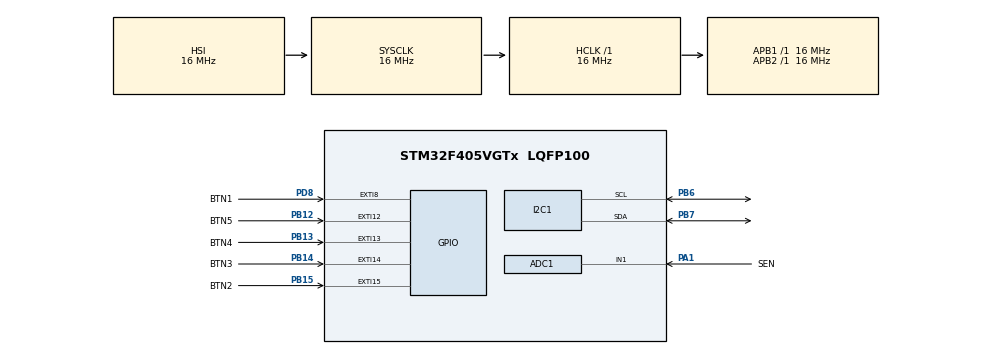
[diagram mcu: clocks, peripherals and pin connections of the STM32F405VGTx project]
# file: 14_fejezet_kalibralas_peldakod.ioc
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ADC1.Channel-2\#ChannelRegularConversion=ADC_CHANNEL_1
ADC1.NbrOfConversionFlag=1
ADC1.Rank-2\#ChannelRegularConversion=1
ADC1.SamplingTime-2\#ChannelRegularConversion=ADC_SAMPLETIME_3CYCLES
ADC1.master=1
Mcu.Family=STM32F4
Mcu.Name=STM32F405VGTx
Mcu.Package=LQFP100
NVIC.EXTI15_10_IRQn=true\:0\:0\:false\:false\:true\:true\:true
NVIC.EXTI9_5_IRQn=true\:0\:0\:false\:false\:true\:true\:true
NVIC.PriorityGroup=NVIC_PRIORITYGROUP_4
NVIC.TIM1_BRK_TIM9_IRQn=true\:0\:0\:false\:false\:true\:true\:true
NVIC.TIM1_CC_IRQn=true\:0\:0\:false\:false\:true\:true\:true
NVIC.TIM1_TRG_COM_TIM11_IRQn=true\:0\:0\:false\:false\:true\:true\:true
NVIC.TIM1_UP_TIM10_IRQn=true\:0\:0\:false\:false\:true\:true\:true
PA1.GPIO_Label=SEN
PA1.Signal=ADCx_IN1
PB12.GPIO_Label=BTN5
PB12.Signal=GPXTI12
PB13.GPIO_Label=BTN4
PB13.Signal=GPXTI13
PB14.GPIO_Label=BTN3
PB14.Signal=GPXTI14
PB15.GPIO_Label=BTN2
PB15.Signal=GPXTI15
PB6.Mode=I2C
PB6.Signal=I2C1_SCL
PB7.Mode=I2C
PB7.Signal=I2C1_SDA
PD8.GPIO_Label=BTN1
PD8.Signal=GPXTI8
ProjectManager.HeapSize=0x200
ProjectManager.StackSize=0x400
ProjectManager.TargetToolchain=STM32CubeIDE
RCC.AHBFreq_Value=16000000
RCC.APB1Freq_Value=16000000
RCC.APB2Freq_Value=16000000
RCC.CortexFreq_Value=16000000
RCC.HSE_VALUE=25000000
RCC.HSI_VALUE=16000000
RCC.LSE_VALUE=32768
RCC.SYSCLKFreq_VALUE=16000000
RCC.VCOOutputFreq_Value=192000000
SH.ADCx_IN1.0=ADC1_IN1,IN1
TIM1.Period=50
TIM1.Prescaler=16000
VP_TIM1_VS_ClockSourceINT.Mode=Internal
board=custom

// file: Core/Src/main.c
/* USER CODE BEGIN Header */
/**
  ******************************************************************************
  * @file           : main.c
  * @brief          : Main program body
  ******************************************************************************
  * @attention
  *
  * <h2><center>&copy; Copyright (c) 2020 STMicroelectronics.
  * All rights reserved.</center></h2>
  *
  * This software component is licensed by ST under BSD 3-Clause license,
  * the "License"; You may not use this file except in compliance with the
  * License. You may obtain a copy of the License at:
  *                        opensource.org/licenses/BSD-3-Clause
  *
  ******************************************************************************
  */
/* USER CODE END Header */
#include "main.h"

/* USER CODE BEGIN Includes */
#include "stdbool.h"
#include "OLED.h"
#include "thermistor_misc.h"
/* USER CODE END Includes */

ADC_HandleTypeDef hadc1;

I2C_HandleTypeDef hi2c1;

TIM_HandleTypeDef htim1;

/* USER CODE BEGIN PV */

// lehetséges képernyő üzemmódok
enum Screen
{
	SCRN_Start = 0,
	SCRN_ADC = 1,
};

//a SCRN_ADC képernyő megjelenítési módjai
enum ADC_DisplayMode
{
	DM_Temp = 0,
	DM_Diff = 1,
	DM_ConvRes = 2
};

// üzemmódok és kijelzési módok mennyiségének definiálása
const unsigned int NUMBER_OF_WORKING_MODES = 2;
const unsigned int NUMBER_OF_DISPLAY_MODES = 3;

// alapértelmezett üzemmód és kijelzési mód definiálása
unsigned short current_screen = SCRN_Start;
unsigned short display_mode = DM_Temp;

//végleges adc eredményt tároló változó
uint32_t adc_result = 0;

//kiszámított hőmérsékletet és a kalibrációból adódó korrekció értékét tároló változó
float temperature_calculated = 0.0;
float temperature_correction = 0.0;

// gombok állapotának tárolása
bool button_state = true;

/* USER CODE END PV */

void SystemClock_Config(void);
static void MX_GPIO_Init(void);
static void MX_TIM1_Init(void);
static void MX_ADC1_Init(void);
static void MX_I2C1_Init(void);

/* USER CODE BEGIN 0 */

// az A-D átalakítás elvégzése és az aktuális képernyő megjelenítése
void ConvertAndDisplay()
{
	// változó a mért adc értékek összegzésére
	float cumulated_result = 0.0;

	// az átlagoláshoz használt átalakítások száma
	const unsigned int SAMPLE_NUMBER = 16;
	// kommunikáció ellenőrzésére változó létrehozása
	HAL_StatusTypeDef error_code = HAL_OK;
	for (unsigned int i = 0;i < SAMPLE_NUMBER;++i)
	{
		// analóg-digitális átalakítás indítása
		HAL_ADC_Start(&hadc1);
		error_code = HAL_ADC_PollForConversion(&hadc1, 100);
		if (error_code != HAL_OK)
		{
			DisplayTextAndInteger("Error:", error_code, NoUnit);
			HAL_Delay(1000);
			break;
		}
		cumulated_result += HAL_ADC_GetValue(&hadc1);
	}
	// kommunikáció sikerességének ellenőrzése
	if (error_code != HAL_OK)
	{
		return;
	}
	// átlagolt eredmény kiszámítása
	adc_result = cumulated_result/SAMPLE_NUMBER;
	// hőmérséklet kiszámítása a kapott adc értékből
	temperature_calculated = CalculateTemperature(adc_result);
	// kalibrálási korrekció figyelembevétele
	float temperature = temperature_calculated + temperature_correction;

	// az eredmény megjelenítése a kijelző módjától függően
	if (display_mode == DM_Temp)
	{
		DisplayTextAndFloat("Temp:", temperature, Celsius);
	}
	else if (display_mode == DM_Diff)
	{
		DisplayTextAndFloat("Diff:", temperature_correction, Celsius);
	}
	else if (display_mode == DM_ConvRes)
	{
		DisplayTextAndInteger("ADC:",  adc_result, NoUnit);
	}
}

/* USER CODE END 0 */

int main(void)
{

  /* MCU Configuration--------------------------------------------------------*/

  /* Reset of all peripherals, Initializes the Flash interface and the Systick. */
  HAL_Init();

  /* Configure the system clock */
  SystemClock_Config();

  /* Initialize all configured peripherals */
  MX_GPIO_Init();
  MX_TIM1_Init();
  MX_ADC1_Init();
  MX_I2C1_Init();
  /* USER CODE BEGIN 2 */

  OLED_SelectDisplay(Display_1);
  OLED_Init();

  /* USER CODE END 2 */

  /* Infinite loop */
  /* USER CODE BEGIN WHILE */
  while (1)
  {
	  // Állapotgép
	  switch (current_screen)
	  {
	  case SCRN_Start:
		  DisplayText("Start", "screen", NoUnit);
		  HAL_Delay(500);
		  break;
	  case SCRN_ADC:
		  ConvertAndDisplay();
		  HAL_Delay(500);
		  break;
	  default:
		  DisplayText("Unknown", "screen", NoUnit);
		  HAL_Delay(500);
		  break;
	  }
    /* USER CODE END WHILE */

  }
}

void SystemClock_Config(void)
{
  RCC_OscInitTypeDef RCC_OscInitStruct = {0};
  RCC_ClkInitTypeDef RCC_ClkInitStruct = {0};

  /** Configure the main internal regulator output voltage
  */
  __HAL_RCC_PWR_CLK_ENABLE();
  __HAL_PWR_VOLTAGESCALING_CONFIG(PWR_REGULATOR_VOLTAGE_SCALE1);
  /** Initializes the RCC Oscillators according to the specified parameters
  * in the RCC_OscInitTypeDef structure.
  */
  RCC_OscInitStruct.OscillatorType = RCC_OSCILLATORTYPE_HSI;
  RCC_OscInitStruct.HSIState = RCC_HSI_ON;
  RCC_OscInitStruct.HSICalibrationValue = RCC_HSICALIBRATION_DEFAULT;
  RCC_OscInitStruct.PLL.PLLState = RCC_PLL_NONE;
  if (HAL_RCC_OscConfig(&RCC_OscInitStruct) != HAL_OK)
  {
    Error_Handler();
  }
  /** Initializes the CPU, AHB and APB buses clocks
  */
  RCC_ClkInitStruct.ClockType = RCC_CLOCKTYPE_HCLK|RCC_CLOCKTYPE_SYSCLK
                              |RCC_CLOCKTYPE_PCLK1|RCC_CLOCKTYPE_PCLK2;
  RCC_ClkInitStruct.SYSCLKSource = RCC_SYSCLKSOURCE_HSI;
  RCC_ClkInitStruct.AHBCLKDivider = RCC_SYSCLK_DIV1;
  RCC_ClkInitStruct.APB1CLKDivider = RCC_HCLK_DIV1;
  RCC_ClkInitStruct.APB2CLKDivider = RCC_HCLK_DIV1;

  if (HAL_RCC_ClockConfig(&RCC_ClkInitStruct, FLASH_LATENCY_0) != HAL_OK)
  {
    Error_Handler();
  }
}

static void MX_ADC1_Init(void)
{

  ADC_ChannelConfTypeDef sConfig = {0};

  /** Configure the global features of the ADC (Clock, Resolution, Data Alignment and number of conversion)
  */
  hadc1.Instance = ADC1;
  hadc1.Init.ClockPrescaler = ADC_CLOCK_SYNC_PCLK_DIV2;
  hadc1.Init.Resolution = ADC_RESOLUTION_12B;
  hadc1.Init.ScanConvMode = DISABLE;
  hadc1.Init.ContinuousConvMode = DISABLE;
  hadc1.Init.DiscontinuousConvMode = DISABLE;
  hadc1.Init.ExternalTrigConvEdge = ADC_EXTERNALTRIGCONVEDGE_NONE;
  hadc1.Init.ExternalTrigConv = ADC_SOFTWARE_START;
  hadc1.Init.DataAlign = ADC_DATAALIGN_RIGHT;
  hadc1.Init.NbrOfConversion = 1;
  hadc1.Init.DMAContinuousRequests = DISABLE;
  hadc1.Init.EOCSelection = ADC_EOC_SINGLE_CONV;
  if (HAL_ADC_Init(&hadc1) != HAL_OK)
  {
    Error_Handler();
  }
  /** Configure for the selected ADC regular channel its corresponding rank in the sequencer and its sample time.
  */
  sConfig.Channel = ADC_CHANNEL_1;
  sConfig.Rank = 1;
  sConfig.SamplingTime = ADC_SAMPLETIME_3CYCLES;
  if (HAL_ADC_ConfigChannel(&hadc1, &sConfig) != HAL_OK)
  {
    Error_Handler();
  }

}

static void MX_I2C1_Init(void)
{

  hi2c1.Instance = I2C1;
  hi2c1.Init.ClockSpeed = 100000;
  hi2c1.Init.DutyCycle = I2C_DUTYCYCLE_2;
  hi2c1.Init.OwnAddress1 = 0;
  hi2c1.Init.AddressingMode = I2C_ADDRESSINGMODE_7BIT;
  hi2c1.Init.DualAddressMode = I2C_DUALADDRESS_DISABLE;
  hi2c1.Init.OwnAddress2 = 0;
  hi2c1.Init.GeneralCallMode = I2C_GENERALCALL_DISABLE;
  hi2c1.Init.NoStretchMode = I2C_NOSTRETCH_DISABLE;
  if (HAL_I2C_Init(&hi2c1) != HAL_OK)
  {
    Error_Handler();
  }

}

static void MX_TIM1_Init(void)
{

  TIM_ClockConfigTypeDef sClockSourceConfig = {0};
  TIM_MasterConfigTypeDef sMasterConfig = {0};

  htim1.Instance = TIM1;
  htim1.Init.Prescaler = 16000;
  htim1.Init.CounterMode = TIM_COUNTERMODE_UP;
  htim1.Init.Period = 50;
  htim1.Init.ClockDivision = TIM_CLOCKDIVISION_DIV1;
  htim1.Init.RepetitionCounter = 0;
  htim1.Init.AutoReloadPreload = TIM_AUTORELOAD_PRELOAD_DISABLE;
  if (HAL_TIM_Base_Init(&htim1) != HAL_OK)
  {
    Error_Handler();
  }
  sClockSourceConfig.ClockSource = TIM_CLOCKSOURCE_INTERNAL;
  if (HAL_TIM_ConfigClockSource(&htim1, &sClockSourceConfig) != HAL_OK)
  {
    Error_Handler();
  }
  sMasterConfig.MasterOutputTrigger = TIM_TRGO_RESET;
  sMasterConfig.MasterSlaveMode = TIM_MASTERSLAVEMODE_DISABLE;
  if (HAL_TIMEx_MasterConfigSynchronization(&htim1, &sMasterConfig) != HAL_OK)
  {
    Error_Handler();
  }

}

static void MX_GPIO_Init(void)
{
  GPIO_InitTypeDef GPIO_InitStruct = {0};

  /* GPIO Ports Clock Enable */
  __HAL_RCC_GPIOA_CLK_ENABLE();
  __HAL_RCC_GPIOB_CLK_ENABLE();
  __HAL_RCC_GPIOD_CLK_ENABLE();

  /*Configure GPIO pins : BTN5_Pin BTN4_Pin BTN3_Pin BTN2_Pin */
  GPIO_InitStruct.Pin = BTN5_Pin|BTN4_Pin|BTN3_Pin|BTN2_Pin;
  GPIO_InitStruct.Mode = GPIO_MODE_IT_RISING;
  GPIO_InitStruct.Pull = GPIO_NOPULL;
  HAL_GPIO_Init(GPIOB, &GPIO_InitStruct);

  /*Configure GPIO pin : BTN1_Pin */
  GPIO_InitStruct.Pin = BTN1_Pin;
  GPIO_InitStruct.Mode = GPIO_MODE_IT_RISING;
  GPIO_InitStruct.Pull = GPIO_NOPULL;
  HAL_GPIO_Init(BTN1_GPIO_Port, &GPIO_InitStruct);

  /* EXTI interrupt init*/
  HAL_NVIC_SetPriority(EXTI9_5_IRQn, 0, 0);
  HAL_NVIC_EnableIRQ(EXTI9_5_IRQn);

  HAL_NVIC_SetPriority(EXTI15_10_IRQn, 0, 0);
  HAL_NVIC_EnableIRQ(EXTI15_10_IRQn);

}

/* USER CODE BEGIN 4 */

//nyomógomb pergésmentesítése timer segítségével
void HAL_GPIO_EXTI_Callback(uint16_t GPIO_Pin)
{
	//timer indítása ha a megfelelő gombot megnyomták és még nincs folyamatban gombnyomás
	if ((GPIO_Pin == BTN5_Pin || GPIO_Pin == BTN4_Pin || GPIO_Pin == BTN3_Pin || GPIO_Pin == BTN2_Pin || GPIO_Pin == BTN1_Pin) && button_state == true)
	{
		//időzítő indítása
		HAL_TIM_Base_Start_IT(&htim1);
		//nyomógombok tiltása
		button_state = false;
	}
	else
	{
		__NOP();
	}
}

//nyomógombok kezelése
void HAL_TIM_PeriodElapsedCallback(TIM_HandleTypeDef *htim)
{
	//képernyők közötti váltás
	if (HAL_GPIO_ReadPin(GPIOD, BTN1_Pin) == GPIO_PIN_SET)
	{
		current_screen = (current_screen + 1) % NUMBER_OF_WORKING_MODES;
	}
	else if (HAL_GPIO_ReadPin(GPIOB, BTN5_Pin) == GPIO_PIN_SET)
	{
		current_screen = (current_screen + NUMBER_OF_WORKING_MODES - 1) % NUMBER_OF_WORKING_MODES;
	}
	//képernyő módok közötti váltás
	else if (HAL_GPIO_ReadPin(GPIOB, BTN4_Pin) == GPIO_PIN_SET && current_screen == SCRN_ADC)
	{
		display_mode = (display_mode + 1) % NUMBER_OF_DISPLAY_MODES;
	}
	else if (HAL_GPIO_ReadPin(GPIOB, BTN2_Pin) == GPIO_PIN_SET && current_screen == SCRN_ADC)
	{
		display_mode = (display_mode + NUMBER_OF_DISPLAY_MODES - 1) % NUMBER_OF_DISPLAY_MODES;
	}
	//művelet indítása
	else if (HAL_GPIO_ReadPin(GPIOB, BTN3_Pin) == GPIO_PIN_SET)
	{
		//Temp képernyőnél a kalibrálás indítása
		if (current_screen == SCRN_ADC && display_mode == DM_Temp)
		{
			//a mérendő érték és a mért érték különbségének tárolása
			temperature_correction = 0.0 - temperature_calculated;
		}
		//Diff képernyőnél a kalibrálás törlése
		else if (current_screen == SCRN_ADC && display_mode == DM_Diff)
		{
			temperature_correction = 0.0;
		}
	}

	//időzítő leállítása
	HAL_TIM_Base_Stop_IT(&htim1);
	//nyomógombok engedélyezése
	button_state = true;
}

/* USER CODE END 4 */

void Error_Handler(void)
{
}

/************************ (C) COPYRIGHT STMicroelectronics *****END OF FILE****/
